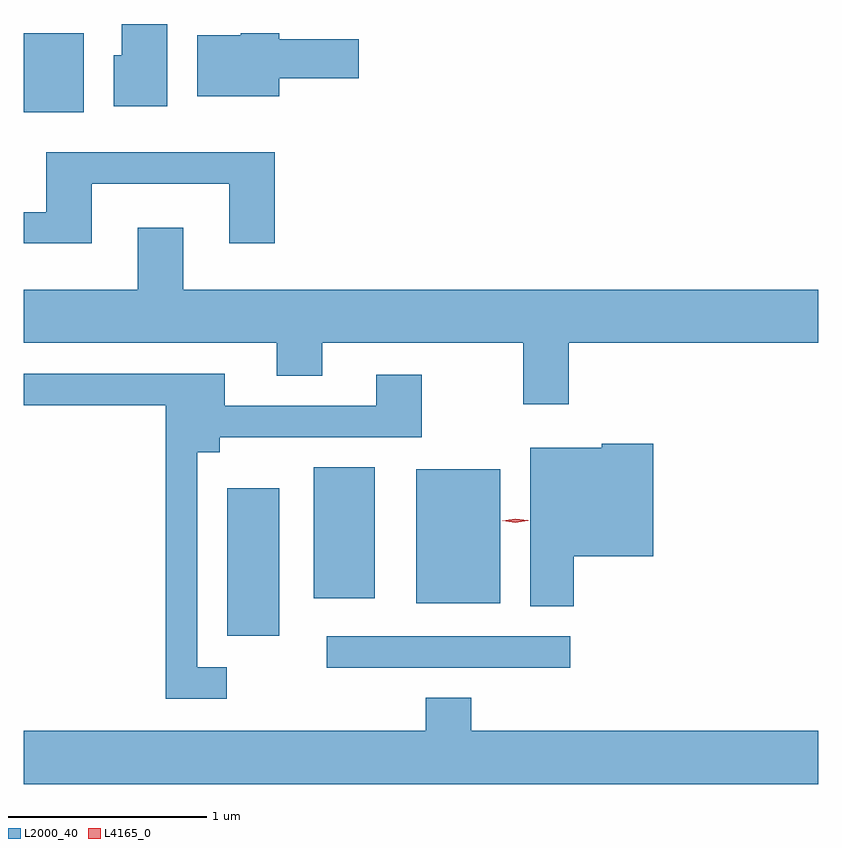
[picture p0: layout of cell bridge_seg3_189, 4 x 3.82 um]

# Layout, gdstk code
import gdstk
lib = gdstk.Library(unit=1e-6, precision=1e-09)
def R(c, l, rs):  # rectangles x0, y0, x1, y1
    for r in rs: c.add(gdstk.rectangle(r[:2], r[2:], *l))
def P(c, l, *ps):  # polygons
    for p in ps: c.add(gdstk.Polygon(p, *l))
L2000_40 = (2000, 40)
L4165_0 = (4165, 0)

bridge_seg3_189 = lib.new_cell('bridge_seg3_189')
R(bridge_seg3_189, L2000_40, [(786.643,1175.441,787.868,1175.599), (786.141,1175.601,786.404,1176.344), (787.091,1175.766,787.514,1176.439), (786.576,1175.791,786.884,1176.449), (785.116,1178.236,785.419,1178.634)])
P(bridge_seg3_189, L2000_40, [(785.839,1178.68),(785.611,1178.68),(785.611,1178.524),(785.571,1178.524),(785.571,1178.266),(785.839,1178.266)],
  [(786.404,1178.406),(786.804,1178.406),(786.804,1178.604),(786.404,1178.604),(786.404,1178.634),(786.21,1178.634),(786.21,1178.624),(785.991,1178.624),(785.991,1178.316),(786.404,1178.316)],
  [(785.459,1177.876),(786.151,1177.876),(786.151,1177.576),(786.379,1177.576),(786.379,1178.034),(785.231,1178.034),(785.231,1177.734),(785.116,1177.734),(785.116,1177.576),(785.459,1177.576)],
  [(787.859,1177.076),(789.116,1177.076),(789.116,1177.344),(785.919,1177.344),(785.919,1177.654),(785.691,1177.654),(785.691,1177.344),(785.116,1177.344),(785.116,1177.076),(786.391,1177.076),(786.391,1176.911),(786.619,1176.911),(786.619,1177.076),(787.631,1177.076),(787.631,1176.766),(787.859,1176.766)],
  [(786.138,1175.444),(785.989,1175.444),(785.989,1176.526),(786.104,1176.526),(786.104,1176.601),(787.119,1176.601),(787.119,1176.914),(786.891,1176.914),(786.891,1176.759),(786.129,1176.759),(786.129,1176.919),(785.116,1176.919),(785.116,1176.761),(785.831,1176.761),(785.831,1175.286),(786.138,1175.286)],
  [(787.884,1176.001),(788.284,1176.001),(788.284,1176.569),(788.026,1176.569),(788.026,1176.549),(787.666,1176.549),(787.666,1175.751),(787.884,1175.751)],
  [(789.116,1175.124),(787.369,1175.124),(787.369,1175.289),(787.141,1175.289),(787.141,1175.124),(785.116,1175.124),(785.116,1174.856),(789.116,1174.856)])
P(bridge_seg3_189, L4165_0, [(787.59,1176.171),(787.524,1176.18),(787.524,1176.18),(787.524,1176.181),(787.59,1176.191),(787.656,1176.182),(787.656,1176.182),(787.656,1176.181)])

lib.write_gds('bridge_seg3_189.gds')
